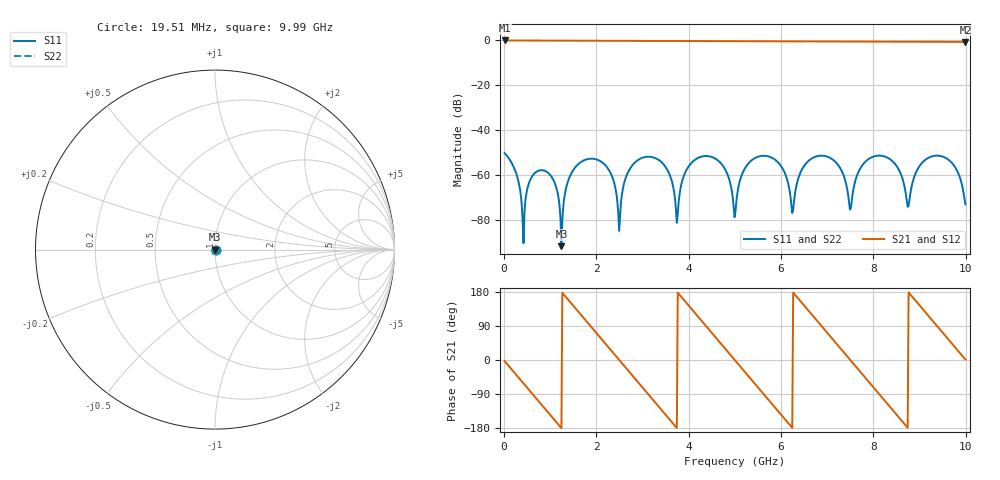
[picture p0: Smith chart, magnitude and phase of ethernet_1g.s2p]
! SPIKE edited channel only; endpoint loading is reported separately.
! Request SHA256 ea498c68d65b25dfae367ce983ca01b287b20ba337b8dc6850199eb763a2210b
! Ports use the explicit edited network order.
# Hz S RI R 100
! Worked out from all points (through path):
!   512 points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, 19.51 MHz to 9.99 GHz, reference 100 ohm
!   highest |S21| = -0.03 dB at 19.51 MHz (marker M1); lowest = -0.7 dB at 9.99 GHz (marker M2)
!   group delay of S21, straight-line fit = 400 ps
!   lowest |S11| = -91.9 dB at 1.249 GHz (marker M3), VSWR 1.00, Z = 100 + j0.00494 ohm
!   |S11| at or under -10 dB: start of sweep to end of sweep
!   |S22| runs from -91.9 to -50.3 dB; largest |S21 - S12| = 5.8e-15
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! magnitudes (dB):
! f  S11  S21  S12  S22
! 19.51 MHz  -50.3  0.0  0.0  -50.3
! 429.3 MHz  -90.5  -0.1  -0.1  -90.5
! 839 MHz  -58.0  -0.1  -0.1  -58.0
! 1.249 GHz  -91.9  -0.1  -0.1  -91.9
! 1.698 GHz  -54.0  -0.1  -0.1  -54.0
! 2.244 GHz  -56.9  -0.2  -0.2  -56.9
! 2.498 GHz  -85.1  -0.2  -0.2  -85.1
! 2.79 GHz  -55.6  -0.2  -0.2  -55.6
! 3.356 GHz  -53.4  -0.2  -0.2  -53.4
! 3.746 GHz  -81.5  -0.3  -0.3  -81.5
! 4.371 GHz  -51.7  -0.3  -0.3  -51.7
! 5.015 GHz  -76.8  -0.4  -0.4  -76.8
! 5.405 GHz  -52.9  -0.4  -0.4  -52.9
! 5.951 GHz  -54.8  -0.4  -0.4  -54.8
! 6.244 GHz  -77.1  -0.4  -0.4  -77.1
! 6.673 GHz  -52.6  -0.5  -0.5  -52.6
! 7.2 GHz  -54.7  -0.5  -0.5  -54.7
! 7.493 GHz  -75.6  -0.5  -0.5  -75.6
! 8.332 GHz  -52.7  -0.6  -0.6  -52.7
! 8.741 GHz  -74.3  -0.6  -0.6  -74.3
! 9.366 GHz  -51.5  -0.6  -0.6  -51.5
! 9.99 GHz  -73.2  -0.7  -0.7  -73.2
